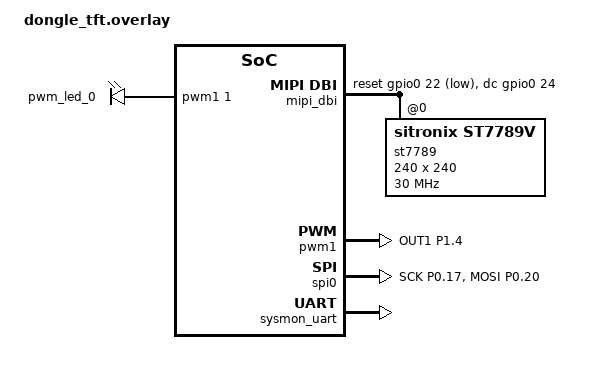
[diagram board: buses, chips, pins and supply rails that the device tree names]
/*
 * ST7789V 240x240 TFT on an nRF52840 Pro Micro board (nice!nano and clones):
 * keyboard status on the top half, host system monitor on the bottom half.
 *
 * Pin choice follows the Snake Dongle (github.com/joaopedropio/snake-dongle),
 * so the enclosures built for it fit. Pro Micro pads in the third column:
 *
 *   SCK  P0.17  D2      DC   P0.24  D5
 *   MOSI P0.20  D3      RST  P0.22  D4
 *   CS   P0.11  D7      BL   P1.04  D8   (PWM1 channel 1)
 *
 * The README's wiring table is generated from these numbers — keep the two
 * in step if you re-pin anything.
 *
 * SPDX-License-Identifier: MIT
 */

#include <zephyr/dt-bindings/gpio/gpio.h>
#include <zephyr/dt-bindings/pwm/pwm.h>

/*
 * i2c0 (pro_micro_i2c) is TWIM0, the same peripheral instance as SPIM0, and it
 * defaults to SDA P0.17 / SCL P0.20 — exactly our SCK and MOSI. It is off by
 * default on this board and disabled again here to say so out loud: this
 * shield cannot be combined with one that needs the Pro Micro I2C bus, such
 * as an SSD1306 OLED shield.
 */
&i2c0 {
    status = "disabled";
};

/ {
    chosen {
        zephyr,display = &st7789;
        /*
         * ZMK switches this on at startup and off again only when it blanks
         * the display, which dongle_tft.conf disables. Nothing sets a
         * brightness, so the backlight is simply on; pwm-leds is used rather
         * than gpio-leds only to leave led_set_brightness() available.
         */
        zmk,display-led = &pwm_led_0;
    };

    lcd_backlight: lcd_backlight {
        compatible = "pwm-leds";

        pwm_led_0: pwm_led_0 {
            pwms = <&pwm1 1 PWM_MSEC(10) PWM_POLARITY_NORMAL>;
        };
    };
};

&pinctrl {
    spi0_default: spi0_default {
        group1 {
            psels = <NRF_PSEL(SPIM_SCK, 0, 17)>, <NRF_PSEL(SPIM_MOSI, 0, 20)>;
        };
    };

    spi0_sleep: spi0_sleep {
        group1 {
            psels = <NRF_PSEL(SPIM_SCK, 0, 17)>, <NRF_PSEL(SPIM_MOSI, 0, 20)>;
            low-power-enable;
        };
    };

    pwm1_default: pwm1_default {
        group1 {
            psels = <NRF_PSEL(PWM_OUT1, 1, 4)>;
        };
    };

    pwm1_sleep: pwm1_sleep {
        group1 {
            psels = <NRF_PSEL(PWM_OUT1, 1, 4)>;
            low-power-enable;
        };
    };
};

&pwm1 {
    status = "okay";
    pinctrl-0 = <&pwm1_default>;
    pinctrl-1 = <&pwm1_sleep>;
    pinctrl-names = "default", "sleep";
};

&spi0 {
    status = "okay";
    compatible = "nordic,nrf-spim";
    pinctrl-0 = <&spi0_default>;
    pinctrl-1 = <&spi0_sleep>;
    pinctrl-names = "default", "sleep";
    cs-gpios = <&gpio0 11 GPIO_ACTIVE_LOW>;
};

/ {
    mipi_dbi {
        compatible = "zephyr,mipi-dbi-spi";
        spi-dev = <&spi0>;
        dc-gpios = <&gpio0 24 GPIO_ACTIVE_HIGH>;
        reset-gpios = <&gpio0 22 GPIO_ACTIVE_LOW>;
        write-only;
        #address-cells = <1>;
        #size-cells = <0>;

        st7789: st7789v@0 {
            compatible = "sitronix,st7789v";
            mipi-max-frequency = <30000000>;
            mipi-mode = "MIPI_DBI_MODE_SPI_4WIRE";
            reg = <0>;
            width = <240>;
            height = <240>;
            x-offset = <0>;
            y-offset = <0>;
            vcom = <0x19>;
            gctrl = <0x35>;
            vrhs = <0x12>;
            vdvs = <0x20>;
            mdac = <0x00>;
            gamma = <0x01>;
            colmod = <0x05>;
            lcm = <0x2c>;
            porch-param = [ 0c 0c 00 33 33  ];
            cmd2en-param = [ 5a 69 02 01  ];
            pwctrl1-param = [ a4 a1  ];
            pvgam-param = [ D0 04 0D 11 13 2B 3F 54 4C 18 0D 0B 1F 23  ];
            nvgam-param = [ D0 04 0C 11 13 2C 3F 44 51 2F 1F 1F 20 23  ];
            ram-param = [ 00 F0  ];
            rgb-param = [ CD 08 14  ];
        };
    };
};

/*
 * Second USB function next to the HID interfaces: the plain serial port the
 * Mac daemon (host/sysmon-daemon) pushes metrics into. The daemon finds it by
 * handshake, so its index among the CDC interfaces does not matter.
 */
&zephyr_udc0 {
    sysmon_uart: sysmon_uart {
        compatible = "zephyr,cdc-acm-uart";
    };
};
